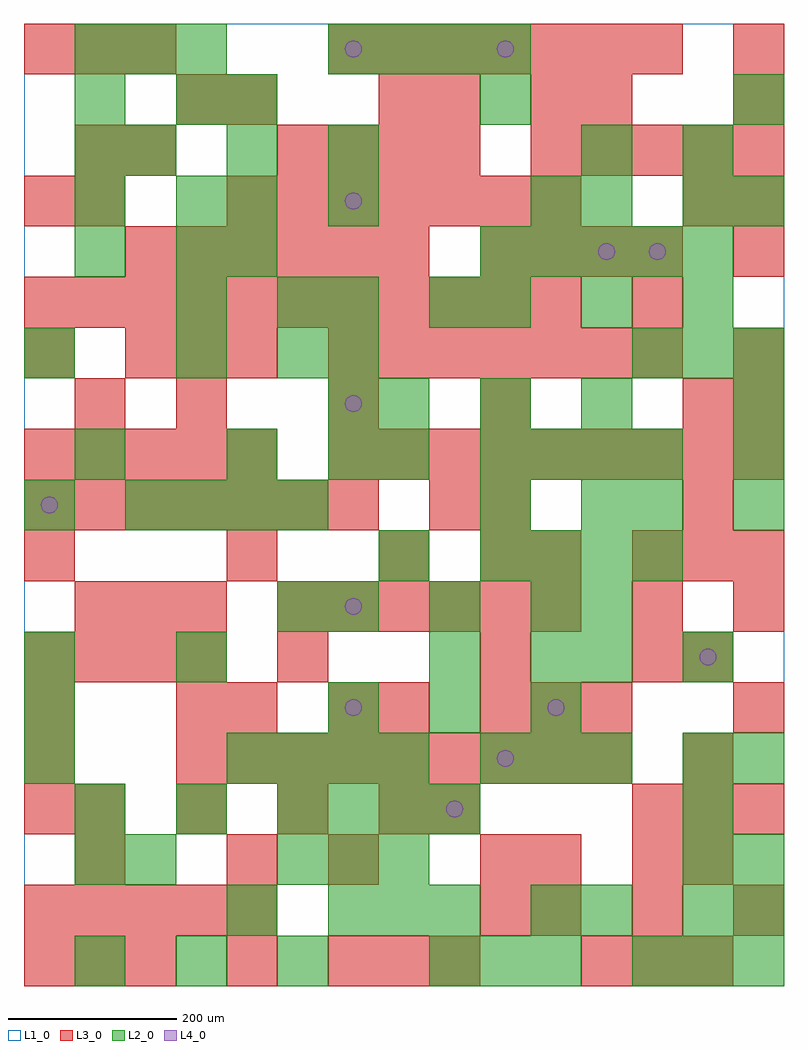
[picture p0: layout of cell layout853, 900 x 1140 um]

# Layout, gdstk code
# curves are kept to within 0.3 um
import gdstk
lib = gdstk.Library(unit=1e-6, precision=1e-09)
def R(c, l, rs):  # rectangles x0, y0, x1, y1
    for r in rs: c.add(gdstk.rectangle(r[:2], r[2:], *l))
def A(c, l, x, y, w, h, nx, ny, dx, dy):  # array of equal rectangles
    R(c, l, [(x+i*dx, y+j*dy, x+i*dx+w, y+j*dy+h) for i in range(nx) for j in range(ny)])
def P(c, l, *ps):  # polygons
    for p in ps: c.add(gdstk.Polygon(p, *l))
L1_0 = (1, 0)
L2_0 = (2, 0)
L3_0 = (3, 0)
L4_0 = (4, 0)

layout853 = lib.new_cell('layout853')
R(layout853, L1_0, [(0,0,900,1140)])
A(layout853, L2_0, 60, 0, 60, 60, 3, 2, 120, 180)
A(layout853, L2_0, 480, 0, 60, 60, 3, 1, 60, 0)
A(layout853, L2_0, 720, 0, 60, 60, 3, 2, 60, 720)
A(layout853, L2_0, 360, 60, 60, 60, 3, 2, 60, 120)
A(layout853, L2_0, 780, 60, 60, 60, 1, 4, 0, 60)
A(layout853, L2_0, 300, 120, 60, 60, 3, 1, 60, 0)
A(layout853, L2_0, 0, 240, 60, 60, 1, 3, 0, 60)
A(layout853, L2_0, 240, 240, 60, 60, 4, 1, 60, 0)
A(layout853, L2_0, 540, 240, 60, 60, 3, 1, 60, 0)
A(layout853, L2_0, 360, 300, 60, 60, 3, 2, 120, 120)
A(layout853, L2_0, 540, 480, 60, 60, 4, 2, 60, 120)
A(layout853, L2_0, 120, 540, 60, 60, 4, 1, 60, 0)
A(layout853, L2_0, 840, 540, 60, 60, 1, 3, 0, 60)
A(layout853, L2_0, 360, 600, 60, 60, 1, 4, 0, 60)
A(layout853, L2_0, 420, 660, 60, 60, 3, 1, 120, 0)
A(layout853, L2_0, 180, 720, 60, 60, 1, 4, 0, 60)
A(layout853, L2_0, 540, 780, 60, 60, 3, 1, 120, 0)
A(layout853, L2_0, 60, 840, 60, 60, 1, 4, 0, 60)
A(layout853, L2_0, 540, 840, 60, 60, 5, 1, 60, 0)
A(layout853, L2_0, 120, 960, 60, 60, 3, 1, 120, 0)
A(layout853, L2_0, 240, 1020, 60, 60, 3, 1, 300, 0)
A(layout853, L2_0, 60, 1080, 60, 60, 3, 1, 60, 0)
A(layout853, L2_0, 360, 1080, 60, 60, 4, 1, 60, 0)
R(layout853, L2_0, [(240,60,300,120), (600,60,660,120), (660,60,720,120), (840,60,900,120), (60,120,120,180), (120,120,180,180), (840,120,900,180), (840,240,900,300), (180,360,240,420), (480,360,540,420), (600,360,660,420), (660,360,720,420), (780,360,840,420), (300,420,360,480), (660,420,720,480), (420,480,480,540), (0,540,60,600), (540,540,600,600), (660,540,720,600), (720,540,780,600), (60,600,120,660), (240,600,300,660), (420,600,480,660), (0,720,60,780), (300,720,360,780), (300,780,360,840), (480,780,540,840), (240,840,300,900), (240,900,300,960), (360,900,420,960), (600,900,660,960), (660,900,720,960), (780,900,840,960), (840,900,900,960), (660,960,720,1020), (780,960,840,1020), (180,1020,240,1080)])
A(layout853, L3_0, 0, 0, 60, 60, 3, 2, 60, 1080)
A(layout853, L3_0, 360, 0, 60, 60, 3, 1, 60, 0)
A(layout853, L3_0, 660, 0, 60, 60, 3, 1, 60, 0)
A(layout853, L3_0, 0, 60, 60, 60, 5, 2, 60, 540)
A(layout853, L3_0, 600, 60, 60, 60, 3, 1, 120, 0)
A(layout853, L3_0, 240, 120, 60, 60, 1, 3, 0, 180)
A(layout853, L3_0, 780, 120, 60, 60, 1, 3, 0, 120)
A(layout853, L3_0, 0, 180, 60, 60, 1, 3, 0, 60)
A(layout853, L3_0, 60, 180, 60, 60, 4, 1, 120, 0)
A(layout853, L3_0, 720, 180, 60, 60, 3, 2, 60, 300)
A(layout853, L3_0, 180, 240, 60, 60, 9, 1, 60, 0)
A(layout853, L3_0, 540, 300, 60, 60, 3, 1, 60, 0)
A(layout853, L3_0, 0, 360, 60, 60, 4, 1, 60, 0)
A(layout853, L3_0, 60, 420, 60, 60, 3, 1, 60, 0)
A(layout853, L3_0, 300, 420, 60, 60, 6, 1, 60, 0)
A(layout853, L3_0, 0, 540, 60, 60, 7, 1, 60, 0)
A(layout853, L3_0, 360, 600, 60, 60, 9, 1, 60, 0)
A(layout853, L3_0, 180, 660, 60, 60, 3, 1, 180, 0)
A(layout853, L3_0, 120, 720, 60, 60, 3, 1, 60, 0)
A(layout853, L3_0, 360, 720, 60, 60, 7, 2, 60, 360)
A(layout853, L3_0, 0, 780, 60, 60, 11, 1, 60, 0)
A(layout853, L3_0, 120, 840, 60, 60, 6, 1, 60, 0)
A(layout853, L3_0, 540, 840, 60, 60, 4, 1, 60, 0)
A(layout853, L3_0, 240, 900, 60, 60, 7, 1, 60, 0)
A(layout853, L3_0, 300, 960, 60, 60, 4, 1, 60, 0)
A(layout853, L3_0, 600, 960, 60, 60, 5, 1, 60, 0)
R(layout853, L3_0, [(240,0,300,60), (540,60,600,120), (60,120,120,180), (360,120,420,180), (540,120,600,180), (600,120,660,180), (720,120,780,180), (480,180,540,240), (180,300,240,360), (360,300,420,360), (420,300,480,360), (840,300,900,360), (300,360,360,420), (540,360,600,420), (720,360,780,420), (720,420,780,480), (840,420,900,480), (0,480,60,540), (420,480,480,540), (540,480,600,540), (600,480,660,540), (480,540,540,600), (540,540,600,600), (780,540,840,600), (60,660,120,720), (780,660,840,720), (840,660,900,720), (0,720,60,780), (840,720,900,780), (720,780,780,840), (840,840,900,900), (0,900,60,960), (60,900,120,960), (780,900,840,960), (840,900,900,960), (60,960,120,1020), (120,960,180,1020), (180,1020,240,1080), (240,1020,300,1080), (420,1020,480,1080), (480,1020,540,1080), (600,1020,660,1080), (660,1020,720,1080), (840,1020,900,1080), (840,1080,900,1140)])
P(layout853, L4_0, [(40,570),(39.239,573.827),(37.071,577.071),(33.827,579.239),(30,580),(26.173,579.239),(22.929,577.071),(20.761,573.827),(20,570),(20.761,566.173),(22.929,562.929),(26.173,560.761),(30,560),(33.827,560.761),(37.071,562.929),(39.239,566.173)],
  [(400,330),(399.239,333.827),(397.071,337.071),(393.827,339.239),(390,340),(386.173,339.239),(382.929,337.071),(380.761,333.827),(380,330),(380.761,326.173),(382.929,322.929),(386.173,320.761),(390,320),(393.827,320.761),(397.071,322.929),(399.239,326.173)],
  [(400,450),(399.239,453.827),(397.071,457.071),(393.827,459.239),(390,460),(386.173,459.239),(382.929,457.071),(380.761,453.827),(380,450),(380.761,446.173),(382.929,442.929),(386.173,440.761),(390,440),(393.827,440.761),(397.071,442.929),(399.239,446.173)],
  [(400,690),(399.239,693.827),(397.071,697.071),(393.827,699.239),(390,700),(386.173,699.239),(382.929,697.071),(380.761,693.827),(380,690),(380.761,686.173),(382.929,682.929),(386.173,680.761),(390,680),(393.827,680.761),(397.071,682.929),(399.239,686.173)],
  [(400,930),(399.239,933.827),(397.071,937.071),(393.827,939.239),(390,940),(386.173,939.239),(382.929,937.071),(380.761,933.827),(380,930),(380.761,926.173),(382.929,922.929),(386.173,920.761),(390,920),(393.827,920.761),(397.071,922.929),(399.239,926.173)],
  [(400,1110),(399.239,1113.827),(397.071,1117.071),(393.827,1119.239),(390,1120),(386.173,1119.239),(382.929,1117.071),(380.761,1113.827),(380,1110),(380.761,1106.173),(382.929,1102.929),(386.173,1100.761),(390,1100),(393.827,1100.761),(397.071,1102.929),(399.239,1106.173)],
  [(520,210),(519.239,213.827),(517.071,217.071),(513.827,219.239),(510,220),(506.173,219.239),(502.929,217.071),(500.761,213.827),(500,210),(500.761,206.173),(502.929,202.929),(506.173,200.761),(510,200),(513.827,200.761),(517.071,202.929),(519.239,206.173)],
  [(580,270),(579.239,273.827),(577.071,277.071),(573.827,279.239),(570,280),(566.173,279.239),(562.929,277.071),(560.761,273.827),(560,270),(560.761,266.173),(562.929,262.929),(566.173,260.761),(570,260),(573.827,260.761),(577.071,262.929),(579.239,266.173)],
  [(580,1110),(579.239,1113.827),(577.071,1117.071),(573.827,1119.239),(570,1120),(566.173,1119.239),(562.929,1117.071),(560.761,1113.827),(560,1110),(560.761,1106.173),(562.929,1102.929),(566.173,1100.761),(570,1100),(573.827,1100.761),(577.071,1102.929),(579.239,1106.173)],
  [(640,330),(639.239,333.827),(637.071,337.071),(633.827,339.239),(630,340),(626.173,339.239),(622.929,337.071),(620.761,333.827),(620,330),(620.761,326.173),(622.929,322.929),(626.173,320.761),(630,320),(633.827,320.761),(637.071,322.929),(639.239,326.173)],
  [(700,870),(699.239,873.827),(697.071,877.071),(693.827,879.239),(690,880),(686.173,879.239),(682.929,877.071),(680.761,873.827),(680,870),(680.761,866.173),(682.929,862.929),(686.173,860.761),(690,860),(693.827,860.761),(697.071,862.929),(699.239,866.173)],
  [(760,870),(759.239,873.827),(757.071,877.071),(753.827,879.239),(750,880),(746.173,879.239),(742.929,877.071),(740.761,873.827),(740,870),(740.761,866.173),(742.929,862.929),(746.173,860.761),(750,860),(753.827,860.761),(757.071,862.929),(759.239,866.173)],
  [(820,390),(819.239,393.827),(817.071,397.071),(813.827,399.239),(810,400),(806.173,399.239),(802.929,397.071),(800.761,393.827),(800,390),(800.761,386.173),(802.929,382.929),(806.173,380.761),(810,380),(813.827,380.761),(817.071,382.929),(819.239,386.173)])

lib.write_gds('layout853.gds')
